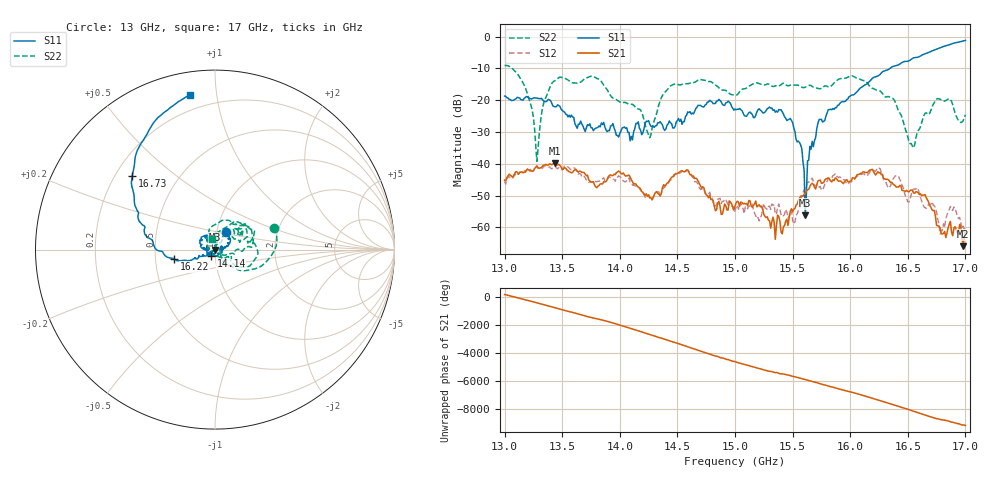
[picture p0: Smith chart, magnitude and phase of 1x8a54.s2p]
!Keysight Technologies,P9374A,MY57211807,A.19.30.04
!Date: Friday, May 08, 2026 14:15:10
!Correction: S11(C  2-Port  )
!S21(C  2-Port  )
!S12(C  2-Port  )
!S22(C  2-Port  )
!S2P File: Measurements: S11, S21, S12, S22:
# Hz S  dB  R 50
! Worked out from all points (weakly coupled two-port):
!   401 points, 13 GHz to 17 GHz, reference 50 ohm
!   highest |S21| = -39.81 dB at 13.44 GHz (marker M1); lowest = -65.9 dB at 16.98 GHz (marker M2)
!   lowest |S11| = -56.2 dB at 15.61 GHz (marker M3), VSWR 1.00, Z = 49.8 + j0.0324 ohm
!   |S11| at or under -10 dB: start of sweep to 16.34 GHz
!   |S22| runs from -39.2 to -9.0 dB; largest |S21 - S12| = 0.0025
!   S11 on the Smith chart (normalised r, x): 13 GHz: 1.10, +0.22; 14.14 GHz: 0.95, -0.07; 16.22 GHz: 0.63, -0.07; 16.73 GHz: 0.27, +0.36; 17 GHz: 0.12, +0.84
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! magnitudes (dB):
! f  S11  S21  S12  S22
! 13 GHz  -18.7  -45.2  -45.5  -9.0
! 13.18 GHz  -19.1  -42.7  -42.5  -16.0
! 13.28 GHz  -19.3  -40.7  -40.8  -39.2
! 13.44 GHz  -22.1  -39.8  -40.9  -13.8
! 13.67 GHz  -27.5  -42.7  -44.0  -14.0
! 14.14 GHz  -27.3  -46.4  -47.4  -22.3
! 14.26 GHz  -27.5  -50.7  -51.0  -31.8
! 14.34 GHz  -27.1  -49.6  -48.9  -21.3
! 14.58 GHz  -24.7  -41.9  -42.2  -14.8
! 15 GHz  -22.8  -53.4  -54.8  -18.4
! 15.48 GHz  -25.7  -55.0  -54.8  -15.2
! 15.61 GHz  -56.2  -49.3  -47.5  -15.9
! 15.67 GHz  -32.9  -46.2  -44.5  -15.7
! 15.81 GHz  -23.0  -44.4  -44.6  -15.8
! 16.22 GHz  -12.7  -43.5  -42.3  -16.7
! 16.34 GHz  -10.1  -45.3  -47.3  -19.0
! 16.54 GHz  -6.9  -48.4  -48.4  -34.5
! 16.73 GHz  -4.2  -54.7  -53.3  -20.7
! 16.79 GHz  -3.4  -62.1  -61.8  -19.9
! 16.89 GHz  -2.1  -62.6  -54.7  -21.4
! 16.98 GHz  -1.3  -65.9  -59.6  -26.5
! 17 GHz  -1.2  -61.2  -63.9  -24.6
